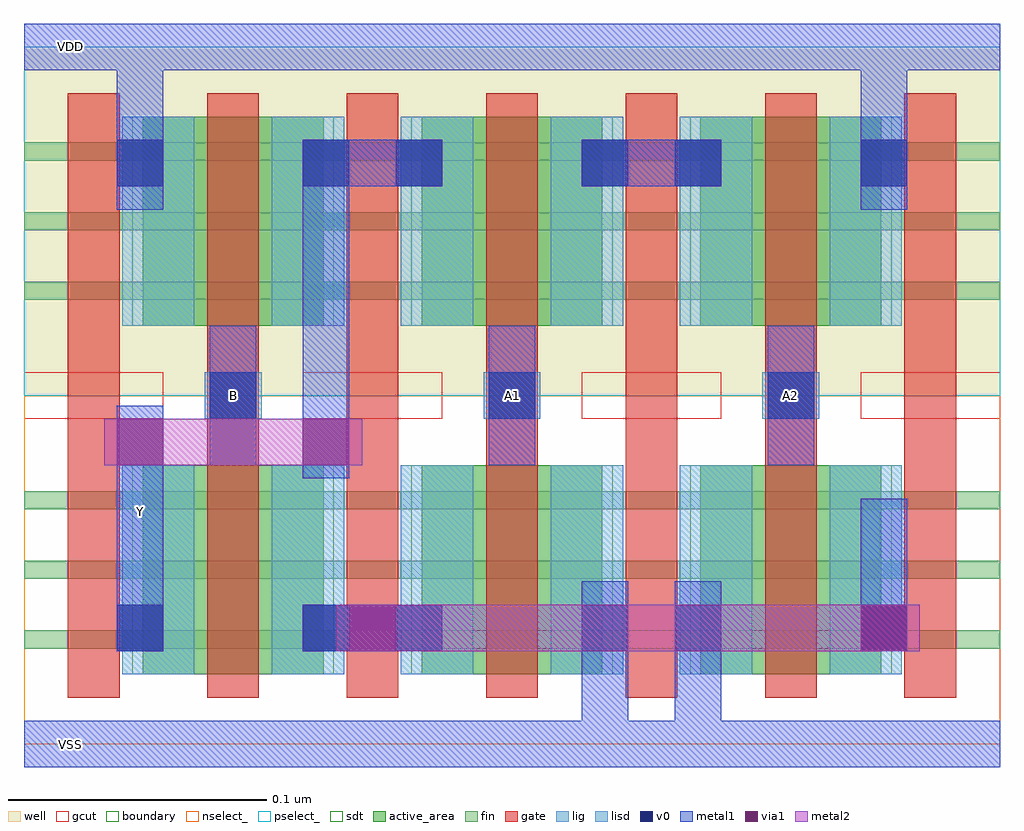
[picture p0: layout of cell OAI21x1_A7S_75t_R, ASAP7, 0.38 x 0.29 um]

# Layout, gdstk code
import gdstk
lib = gdstk.Library(unit=1e-6, precision=2.5e-10)
def R(c, l, rs):  # rectangles x0, y0, x1, y1
    for r in rs: c.add(gdstk.rectangle(r[:2], r[2:], *l))
def A(c, l, x, y, w, h, nx, ny, dx, dy):  # array of equal rectangles
    R(c, l, [(x+i*dx, y+j*dy, x+i*dx+w, y+j*dy+h) for i in range(nx) for j in range(ny)])
well = (1, 0)
fin = (2, 0)
gate = (7, 0)
gcut = (10, 0)
active_area = (11, 0)
nselect_ = (12, 0)
pselect_ = (13, 0)
lig = (16, 0)
lisd = (17, 0)
v0 = (18, 0)
metal1 = (19, 0)
metal2 = (20, 0)
via1 = (21, 0)
sdt = (88, 0)
boundary = (100, 0)

oai21x1_a7s_75t_r = lib.new_cell('OAI21x1_A7S_75t_R')
R(oai21x1_a7s_75t_r, well, [(0,0.135,0.378,0.27)])
A(oai21x1_a7s_75t_r, fin, 0, 0.037, 0.378, 0.007, 1, 3, 0, 0.027)
A(oai21x1_a7s_75t_r, fin, 0, 0.172, 0.378, 0.007, 1, 3, 0, 0.027)
A(oai21x1_a7s_75t_r, gate, 0.017, 0.018, 0.02, 0.234, 7, 1, 0.054, 0)
A(oai21x1_a7s_75t_r, gcut, 0, 0.126, 0.054, 0.018, 4, 1, 0.108, 0)
A(oai21x1_a7s_75t_r, active_area, 0.046, 0.027, 0.07, 0.081, 3, 2, 0.108, 0.135)
R(oai21x1_a7s_75t_r, nselect_, [(0,0,0.378,0.135)])
R(oai21x1_a7s_75t_r, pselect_, [(0,0.135,0.378,0.27)])
A(oai21x1_a7s_75t_r, lig, 0.07, 0.126, 0.022, 0.018, 3, 1, 0.108, 0)
R(oai21x1_a7s_75t_r, lisd, [(0.038,0.027,0.066,0.108), (0.096,0.027,0.124,0.108), (0.146,0.027,0.174,0.108), (0.204,0.027,0.232,0.108), (0.254,0.027,0.282,0.108), (0.312,0.027,0.34,0.108), (0.038,0.162,0.066,0.243), (0.096,0.162,0.124,0.243), (0.146,0.162,0.174,0.243), (0.204,0.162,0.232,0.243), (0.254,0.162,0.282,0.243), (0.312,0.162,0.34,0.243)])
A(oai21x1_a7s_75t_r, v0, 0.072, 0.126, 0.018, 0.018, 3, 1, 0.108, 0)
R(oai21x1_a7s_75t_r, v0, [(0.036,0.036,0.054,0.054), (0.108,0.036,0.126,0.054), (0.144,0.036,0.162,0.054), (0.216,0.036,0.234,0.054), (0.252,0.036,0.27,0.054), (0.324,0.036,0.342,0.054), (0.036,0.216,0.054,0.234), (0.108,0.216,0.126,0.234), (0.144,0.216,0.162,0.234), (0.216,0.216,0.234,0.234), (0.252,0.216,0.27,0.234), (0.324,0.216,0.342,0.234)])
A(oai21x1_a7s_75t_r, metal1, 0.072, 0.108, 0.018, 0.054, 3, 1, 0.108, 0)
R(oai21x1_a7s_75t_r, metal1, [(0,-0.009,0.378,0.009), (0.216,0.009,0.234,0.063), (0.252,0.009,0.27,0.063), (0.036,0.036,0.054,0.131), (0.108,0.036,0.162,0.054), (0.324,0.036,0.342,0.095), (0.108,0.103,0.126,0.234), (0.036,0.207,0.054,0.261), (0.324,0.207,0.342,0.261), (0.108,0.216,0.162,0.234), (0.216,0.216,0.27,0.234), (0,0.261,0.378,0.279)])
R(oai21x1_a7s_75t_r, metal2, [(0.121,0.036,0.347,0.054), (0.031,0.108,0.131,0.126)])
R(oai21x1_a7s_75t_r, via1, [(0.126,0.036,0.144,0.054), (0.324,0.036,0.342,0.054), (0.036,0.108,0.054,0.126), (0.108,0.108,0.126,0.126)])
A(oai21x1_a7s_75t_r, sdt, 0.042, 0.027, 0.024, 0.081, 6, 2, 0.054, 0.135)
R(oai21x1_a7s_75t_r, boundary, [(0,0,0.378,0.27)])
oai21x1_a7s_75t_r.add(gdstk.Label('VSS', (0.018,0), layer=19, texttype=251))
oai21x1_a7s_75t_r.add(gdstk.Label('VDD', (0.018,0.27), layer=19, texttype=251))
oai21x1_a7s_75t_r.add(gdstk.Label('B', (0.081,0.135), layer=19, texttype=251))
oai21x1_a7s_75t_r.add(gdstk.Label('A1', (0.189,0.135), layer=19, texttype=251))
oai21x1_a7s_75t_r.add(gdstk.Label('A2', (0.297,0.135), layer=19, texttype=251))
oai21x1_a7s_75t_r.add(gdstk.Label('Y', (0.045,0.09), layer=19, texttype=251))

lib.write_gds('OAI21x1_A7S_75t_R.gds')
